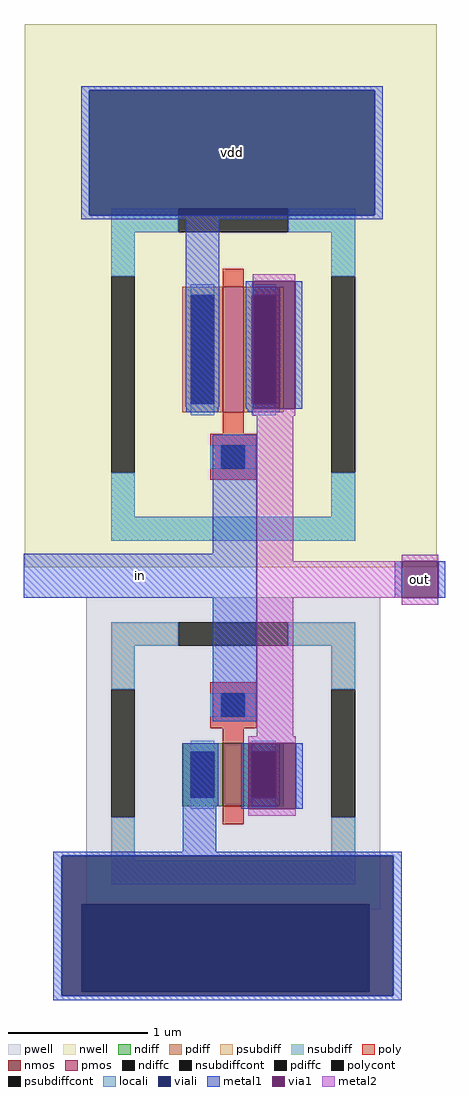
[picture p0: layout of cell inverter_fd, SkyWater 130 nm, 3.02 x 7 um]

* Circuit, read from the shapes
.subckt inverter_fd in out vdd
XM1 out in VSUBS VSUBS sky130_fd_pr__nfet_01v8 w=0.45 l=0.15
XM2 out in vdd vdd sky130_fd_pr__pfet_01v8 w=0.9 l=0.15
.ends

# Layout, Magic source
magic
tech sky130A
magscale 1 2
<< nwell >>
rect 457 679 1048 1458
<< psubdiff >>
rect 510 195 986 265
rect 510 70 539 195
rect 951 70 986 195
rect 510 64 986 70
<< nsubdiff >>
rect 550 1184 959 1363
<< psubdiffcont >>
rect 539 70 951 195
<< viali >>
rect 550 1184 959 1363
rect 510 195 986 265
rect 510 70 539 195
rect 539 70 951 195
rect 951 70 986 195
rect 510 64 986 70
<< metal1 >>
rect 538 1363 971 1369
rect 538 1184 550 1363
rect 959 1184 971 1363
rect 538 1178 971 1184
rect 688 909 736 1178
rect 774 906 784 1089
rect 845 906 855 1089
rect 727 698 790 869
rect 456 635 790 698
rect 988 635 998 687
rect 1050 635 1060 687
rect 727 458 790 635
rect 684 271 732 426
rect 768 332 778 426
rect 846 332 856 426
rect 498 265 998 271
rect 498 64 510 265
rect 986 64 998 265
rect 498 58 998 64
<< via1 >>
rect 784 906 845 1089
rect 998 635 1050 687
rect 778 332 846 426
<< metal2 >>
rect 784 1089 845 1099
rect 784 896 845 906
rect 790 687 842 896
rect 998 687 1050 697
rect 790 635 998 687
rect 790 436 842 635
rect 998 625 1050 635
rect 778 426 846 436
rect 778 322 846 332
use sky130_fd_pr__nfet_01v8_ETUE4C  sky130_fd_pr__nfet_01v8_ETUE4C_0
transform 1 0 756 0 1 412
box -211 -224 211 224
use sky130_fd_pr__pfet_01v8_B5M7SB  sky130_fd_pr__pfet_01v8_B5M7SB_0
transform 1 0 756 0 1 955
box -211 -274 211 274
<< labels >>
rlabel metal1 456 635 790 698 1 in
rlabel via1 998 635 1050 687 1 out
rlabel viali 550 1184 959 1363 1 vdd
<< end >>

# cell sky130_fd_pr__nfet_01v8_ETUE4C: kit device sky130_fd_pr__nfet_01v8, w 0.45 l 0.150 m 1 nf 1 diffcov 100 polycov 100 guard 1 glc 1 grc 1 gtc 1 gbc 0 tbcov 100 rlcov 100 topc 1 botc 0 poverlap 0 doverlap 1 lmin 0.15 wmin 0.42 compatible {sky130_fd_pr__nfet_01v8 sky130_fd_pr__nfet_01v8_lvt sky130_fd_bs_flash__special_sonosfet_star sky130_fd_pr__nfet_g5v0d10v5 sky130_fd_pr__nfet_05v0_nvt} full_metal 1 viasrc 100 viadrn 100 viagate 100 viagb 0 viagr 0 viagl 0 viagt 0

# cell sky130_fd_pr__pfet_01v8_B5M7SB: kit device sky130_fd_pr__pfet_01v8, w 0.9 l 0.15 m 1 nf 1 diffcov 100 polycov 100 guard 1 glc 1 grc 1 gtc 1 gbc 0 tbcov 100 rlcov 100 topc 0 botc 1 poverlap 0 doverlap 1 lmin 0.15 wmin 0.42 compatible {sky130_fd_pr__pfet_01v8 sky130_fd_pr__pfet_01v8_lvt sky130_fd_pr__pfet_01v8_hvt sky130_fd_pr__pfet_g5v0d10v5} full_metal 1 viagl 0 viagr 0 viagt 0 viagb 0 viagate 100 viadrn 100 viasrc 100
